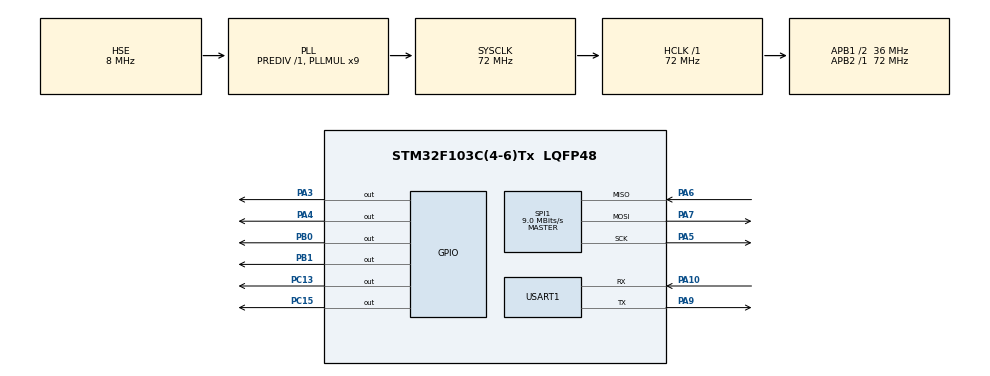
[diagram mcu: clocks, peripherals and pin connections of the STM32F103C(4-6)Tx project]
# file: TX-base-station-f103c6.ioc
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Dma.Request0=USART1_RX
Dma.USART1_RX.0.Direction=DMA_PERIPH_TO_MEMORY
Dma.USART1_RX.0.Instance=DMA1_Channel5
Dma.USART1_RX.0.MemDataAlignment=DMA_MDATAALIGN_BYTE
Dma.USART1_RX.0.MemInc=DMA_MINC_ENABLE
Dma.USART1_RX.0.Mode=DMA_NORMAL
Dma.USART1_RX.0.PeriphDataAlignment=DMA_PDATAALIGN_BYTE
Dma.USART1_RX.0.PeriphInc=DMA_PINC_DISABLE
Dma.USART1_RX.0.Priority=DMA_PRIORITY_LOW
Mcu.Family=STM32F1
Mcu.Name=STM32F103C(4-6)Tx
Mcu.Package=LQFP48
NVIC.DMA1_Channel5_IRQn=true\:0\:0\:false\:false\:true\:false\:true\:true
NVIC.PriorityGroup=NVIC_PRIORITYGROUP_4
NVIC.USART1_IRQn=true\:0\:0\:false\:false\:true\:true\:true\:true
PA10.Mode=Asynchronous
PA10.Signal=USART1_RX
PA13.Mode=Serial_Wire
PA13.Signal=SYS_JTMS-SWDIO
PA14.Mode=Serial_Wire
PA14.Signal=SYS_JTCK-SWCLK
PA3.Signal=GPIO_Output
PA4.Signal=GPIO_Output
PA5.Mode=Full_Duplex_Master
PA5.Signal=SPI1_SCK
PA6.Mode=Full_Duplex_Master
PA6.Signal=SPI1_MISO
PA7.Mode=Full_Duplex_Master
PA7.Signal=SPI1_MOSI
PA9.Mode=Asynchronous
PA9.Signal=USART1_TX
PB0.Signal=GPIO_Output
PB1.Signal=GPIO_Output
PC13-TAMPER-RTC.Signal=GPIO_Output
PC15-OSC32_OUT.Signal=GPIO_Output
PD0-OSC_IN.Mode=HSE-External-Oscillator
PD0-OSC_IN.Signal=RCC_OSC_IN
PD1-OSC_OUT.Mode=HSE-External-Oscillator
PD1-OSC_OUT.Signal=RCC_OSC_OUT
ProjectManager.HeapSize=0x200
ProjectManager.StackSize=0x400
ProjectManager.TargetToolchain=STM32CubeIDE
RCC.AHBFreq_Value=72000000
RCC.APB1CLKDivider=RCC_HCLK_DIV2
RCC.APB1Freq_Value=36000000
RCC.APB1TimFreq_Value=72000000
RCC.APB2Freq_Value=72000000
RCC.APB2TimFreq_Value=72000000
RCC.HCLKFreq_Value=72000000
RCC.PLLMUL=RCC_PLL_MUL9
RCC.PLLSourceVirtual=RCC_PLLSOURCE_HSE
RCC.SYSCLKFreq_VALUE=72000000
RCC.SYSCLKSource=RCC_SYSCLKSOURCE_PLLCLK
RCC.USBFreq_Value=72000000
SPI1.BaudRatePrescaler=SPI_BAUDRATEPRESCALER_8
SPI1.CalculateBaudRate=9.0 MBits/s
SPI1.Direction=SPI_DIRECTION_2LINES
SPI1.Mode=SPI_MODE_MASTER
SPI1.VirtualType=VM_MASTER
USART1.VirtualMode=VM_ASYNC
board=custom

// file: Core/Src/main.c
/* USER CODE BEGIN Header */
/**
  ******************************************************************************
  * @file           : main.c
  * @brief          : Main program body
  ******************************************************************************
  * @attention
  *
  * Copyright (c) 2023 STMicroelectronics.
  * All rights reserved.
  *
  * This software is licensed under terms that can be found in the LICENSE file
  * in the root directory of this software component.
  * If no LICENSE file comes with this software, it is provided AS-IS.
  *
  ******************************************************************************
  */
/* USER CODE END Header */
#include "main.h"

/* USER CODE BEGIN Includes */
#include "nrf24.h"
#include <string.h>
/* USER CODE END Includes */

/* USER CODE BEGIN PTD */
enum {
  SEND_FLAG_RESET = 0,
  SEND_FLAG_SET
};
/* USER CODE END PTD */

/* USER CODE BEGIN PD */
#define LED_GPIO_PORT           GPIOC
#define LED_GPIO_PIN            GPIO_PIN_13

#define nRF24L01_SYSMIC_CHANNEL 0x6B
#define TX_ONLY         0x01

#define tx_mask  0x2000000000400000000060000000008000000000a000000000c000000000
/* USER CODE END PD */

SPI_HandleTypeDef hspi1;

UART_HandleTypeDef huart1;
DMA_HandleTypeDef hdma_usart1_rx;

/* USER CODE BEGIN PV */
uint8_t serial_data[30];
volatile uint32_t serial_len;
volatile uint8_t send_flag = 0;
uint8_t status;
uint8_t status1;

nRF24_Handler_t tx_device;
nRF24_Handler_t rx_device;
uint8_t rx_len;

uint8_t tx_node_addr[5] = {'s', 'y', 's', 't', 'x'};
uint8_t rx_node_addr[5] = {'s', 'y', 's', 'r', 'x'};

uint8_t debug_reg[5];
/* USER CODE END PV */

void SystemClock_Config(void);
static void MX_GPIO_Init(void);
static void MX_DMA_Init(void);
static void MX_SPI1_Init(void);
static void MX_USART1_UART_Init(void);
/* USER CODE BEGIN PFP */
void nRF24_TxPacket(nRF24_Handler_t *device, uint8_t* Buf, uint32_t Len);
/* USER CODE END PFP */

int main(void)
{

  /* MCU Configuration--------------------------------------------------------*/

  /* Reset of all peripherals, Initializes the Flash interface and the Systick. */
  HAL_Init();

  /* Configure the system clock */
  SystemClock_Config();

  /* Initialize all configured peripherals */
  MX_GPIO_Init();
  MX_DMA_Init();
  MX_SPI1_Init();
  MX_USART1_UART_Init();
  /* USER CODE BEGIN 2 */

  nRF24_HW_Init(&tx_device, &hspi1, GPIOB, GPIO_PIN_0, GPIOA, GPIO_PIN_4);
  nRF24_Init(&tx_device);
  nRF24_SetAddr(&tx_device, nRF24_PIPETX, rx_node_addr);
  nRF24_SetRFChannel(&tx_device, nRF24L01_SYSMIC_CHANNEL);
  nRF24_SetRXPipe(&tx_device, nRF24_PIPE0, nRF24_AA_OFF, 30);
  nRF24_DisableAA(&tx_device, nRF24_PIPETX);
  nRF24_SetPowerMode(&tx_device, nRF24_PWR_UP);
  nRF24_SetOperationalMode(&tx_device, nRF24_MODE_TX);

  nRF24_HW_Init(&rx_device, &hspi1, GPIOB, GPIO_PIN_1, GPIOA, GPIO_PIN_4);
  nRF24_Init(&rx_device);
  nRF24_SetRFChannel(&rx_device, nRF24L01_SYSMIC_CHANNEL);
  nRF24_ReadMBReg(&rx_device, nRF24_REG_RX_ADDR_P0, debug_reg, 5);
  nRF24_SetAddr(&rx_device, nRF24_PIPE1, rx_node_addr);
  nRF24_SetRXPipe(&rx_device, nRF24_PIPE1, nRF24_AA_OFF, 30);
  nRF24_DisableAA(&rx_device, nRF24_PIPETX);
  nRF24_SetPowerMode(&rx_device, nRF24_PWR_UP);
  nRF24_SetOperationalMode(&rx_device, nRF24_MODE_RX);
  nRF24_RX_ON(&rx_device);

  // Link rx_buffer address to UART-DMARX
	HAL_UART_Receive_DMA(&huart1, serial_data, 30);
	__HAL_DMA_DISABLE_IT(huart1.hdmarx, DMA_IT_HT | DMA_IT_TC);
	__HAL_DMA_DISABLE(huart1.hdmarx);

	// LISR must be cleared before re-enabling DMA stream
	__HAL_DMA_CLEAR_FLAG(huart1.hdmarx, DMA_FLAG_GL3);
	huart1.hdmarx->Instance->CNDTR = 30;

	// Re-enable UART to listen Nextion again
	__HAL_DMA_ENABLE(huart1.hdmarx);
	__HAL_UART_ENABLE_IT(&huart1, UART_IT_IDLE);

 // nRF24_ReadMBReg(&rx_device, nRF24_REG_TX_ADDR, debug_reg, 5);
  nRF24_ReadMBReg(&tx_device, nRF24_REG_TX_ADDR, debug_reg, 5);

  send_flag = SEND_FLAG_SET;

  /* USER CODE END 2 */

  /* Infinite loop */
  /* USER CODE BEGIN WHILE */
  while (1)
    {
  	  status = nRF24_GetStatus(&tx_device);
      if (send_flag) {
    	  nRF24_TxPacket(&tx_device, serial_data, 30);
    	  send_flag = SEND_FLAG_RESET;
      }

    /* USER CODE END WHILE */

  }
}

void SystemClock_Config(void)
{
  RCC_OscInitTypeDef RCC_OscInitStruct = {0};
  RCC_ClkInitTypeDef RCC_ClkInitStruct = {0};

  /** Initializes the RCC Oscillators according to the specified parameters
  * in the RCC_OscInitTypeDef structure.
  */
  RCC_OscInitStruct.OscillatorType = RCC_OSCILLATORTYPE_HSE;
  RCC_OscInitStruct.HSEState = RCC_HSE_ON;
  RCC_OscInitStruct.HSEPredivValue = RCC_HSE_PREDIV_DIV1;
  RCC_OscInitStruct.HSIState = RCC_HSI_ON;
  RCC_OscInitStruct.PLL.PLLState = RCC_PLL_ON;
  RCC_OscInitStruct.PLL.PLLSource = RCC_PLLSOURCE_HSE;
  RCC_OscInitStruct.PLL.PLLMUL = RCC_PLL_MUL9;
  if (HAL_RCC_OscConfig(&RCC_OscInitStruct) != HAL_OK)
  {
    Error_Handler();
  }

  /** Initializes the CPU, AHB and APB buses clocks
  */
  RCC_ClkInitStruct.ClockType = RCC_CLOCKTYPE_HCLK|RCC_CLOCKTYPE_SYSCLK
                              |RCC_CLOCKTYPE_PCLK1|RCC_CLOCKTYPE_PCLK2;
  RCC_ClkInitStruct.SYSCLKSource = RCC_SYSCLKSOURCE_PLLCLK;
  RCC_ClkInitStruct.AHBCLKDivider = RCC_SYSCLK_DIV1;
  RCC_ClkInitStruct.APB1CLKDivider = RCC_HCLK_DIV2;
  RCC_ClkInitStruct.APB2CLKDivider = RCC_HCLK_DIV1;

  if (HAL_RCC_ClockConfig(&RCC_ClkInitStruct, FLASH_LATENCY_2) != HAL_OK)
  {
    Error_Handler();
  }
}

static void MX_SPI1_Init(void)
{

  /* SPI1 parameter configuration*/
  hspi1.Instance = SPI1;
  hspi1.Init.Mode = SPI_MODE_MASTER;
  hspi1.Init.Direction = SPI_DIRECTION_2LINES;
  hspi1.Init.DataSize = SPI_DATASIZE_8BIT;
  hspi1.Init.CLKPolarity = SPI_POLARITY_LOW;
  hspi1.Init.CLKPhase = SPI_PHASE_1EDGE;
  hspi1.Init.NSS = SPI_NSS_SOFT;
  hspi1.Init.BaudRatePrescaler = SPI_BAUDRATEPRESCALER_8;
  hspi1.Init.FirstBit = SPI_FIRSTBIT_MSB;
  hspi1.Init.TIMode = SPI_TIMODE_DISABLE;
  hspi1.Init.CRCCalculation = SPI_CRCCALCULATION_DISABLE;
  hspi1.Init.CRCPolynomial = 10;
  if (HAL_SPI_Init(&hspi1) != HAL_OK)
  {
    Error_Handler();
  }

}

static void MX_USART1_UART_Init(void)
{

  huart1.Instance = USART1;
  huart1.Init.BaudRate = 460800;//115200;
  huart1.Init.WordLength = UART_WORDLENGTH_8B;
  huart1.Init.StopBits = UART_STOPBITS_1;
  huart1.Init.Parity = UART_PARITY_NONE;
  huart1.Init.Mode = UART_MODE_TX_RX;
  huart1.Init.HwFlowCtl = UART_HWCONTROL_NONE;
  huart1.Init.OverSampling = UART_OVERSAMPLING_16;
  if (HAL_UART_Init(&huart1) != HAL_OK)
  {
    Error_Handler();
  }

}

static void MX_DMA_Init(void)
{

  /* DMA controller clock enable */
  __HAL_RCC_DMA1_CLK_ENABLE();

  /* DMA interrupt init */
  /* DMA1_Channel5_IRQn interrupt configuration */
  HAL_NVIC_SetPriority(DMA1_Channel5_IRQn, 0, 0);
  HAL_NVIC_EnableIRQ(DMA1_Channel5_IRQn);

}

static void MX_GPIO_Init(void)
{
  GPIO_InitTypeDef GPIO_InitStruct = {0};

  /* GPIO Ports Clock Enable */
  __HAL_RCC_GPIOC_CLK_ENABLE();
  __HAL_RCC_GPIOD_CLK_ENABLE();
  __HAL_RCC_GPIOA_CLK_ENABLE();
  __HAL_RCC_GPIOB_CLK_ENABLE();

  /*Configure GPIO pin Output Level */
  HAL_GPIO_WritePin(GPIOC, GPIO_PIN_13|GPIO_PIN_15, GPIO_PIN_RESET);

  /*Configure GPIO pin Output Level */
  HAL_GPIO_WritePin(GPIOA, GPIO_PIN_3|GPIO_PIN_4, GPIO_PIN_RESET);

  /*Configure GPIO pin Output Level */
  HAL_GPIO_WritePin(GPIOB, GPIO_PIN_0|GPIO_PIN_1, GPIO_PIN_RESET);

  /*Configure GPIO pins : PC13 PC15 */
  GPIO_InitStruct.Pin = GPIO_PIN_13|GPIO_PIN_15;
  GPIO_InitStruct.Mode = GPIO_MODE_OUTPUT_PP;
  GPIO_InitStruct.Pull = GPIO_NOPULL;
  GPIO_InitStruct.Speed = GPIO_SPEED_FREQ_LOW;
  HAL_GPIO_Init(GPIOC, &GPIO_InitStruct);

  /*Configure GPIO pins : PA3 PA4 */
  GPIO_InitStruct.Pin = GPIO_PIN_3|GPIO_PIN_4;
  GPIO_InitStruct.Mode = GPIO_MODE_OUTPUT_PP;
  GPIO_InitStruct.Pull = GPIO_NOPULL;
  GPIO_InitStruct.Speed = GPIO_SPEED_FREQ_LOW;
  HAL_GPIO_Init(GPIOA, &GPIO_InitStruct);

  /*Configure GPIO pins : PB0 PB1 */
  GPIO_InitStruct.Pin = GPIO_PIN_0|GPIO_PIN_1;
  GPIO_InitStruct.Mode = GPIO_MODE_OUTPUT_PP;
  GPIO_InitStruct.Pull = GPIO_NOPULL;
  GPIO_InitStruct.Speed = GPIO_SPEED_FREQ_LOW;
  HAL_GPIO_Init(GPIOB, &GPIO_InitStruct);

}

/* USER CODE BEGIN 4 */
void nRF24_TxPacket(nRF24_Handler_t *device, uint8_t* Buf, uint32_t Len) {
	HAL_GPIO_WritePin(GPIOC, GPIO_PIN_13, GPIO_PIN_SET);
	for(uint32_t i = 0; i < Len; i++)	{
		device->tx_data[i] = *Buf++;
	}

	if(Len >= 24)	{
		nRF24_WritePayload(device, device->tx_data, Len);
		nRF24_CE_State(device, GPIO_PIN_SET);

		while(!(status & (nRF24_FLAG_TX_DS)))	{
			status = nRF24_GetStatus(device);
		}

		nRF24_ClearIRQFlags(device);
		nRF24_FlushTX(device);
		nRF24_CE_State(device, GPIO_PIN_RESET);
	}
	HAL_GPIO_WritePin(GPIOC, GPIO_PIN_13, GPIO_PIN_RESET);
}

void HAL_UART_RxCpltCallback(UART_HandleTypeDef *huart) {
	__HAL_UART_CLEAR_IDLEFLAG(huart);
	__HAL_DMA_DISABLE(huart->hdmarx);

	// Store length of message before resetting NDTR
	serial_len = 30 - huart->hdmarx->Instance->CNDTR;

	// LISR must be cleared before re-enabling DMA stream
  __HAL_DMA_CLEAR_FLAG(huart->hdmarx, DMA_FLAG_GL3);
	huart->hdmarx->Instance->CNDTR = 30;

	// Re-enable UART
	__HAL_DMA_ENABLE(huart->hdmarx);
	send_flag = SEND_FLAG_SET;
}
/* USER CODE END 4 */

void Error_Handler(void)
{
  /* USER CODE BEGIN Error_Handler_Debug */
  /* User can add his own implementation to report the HAL error return state */
  __disable_irq();
  while (1)
  {
    NVIC_SystemReset();
  }
  /* USER CODE END Error_Handler_Debug */
}
